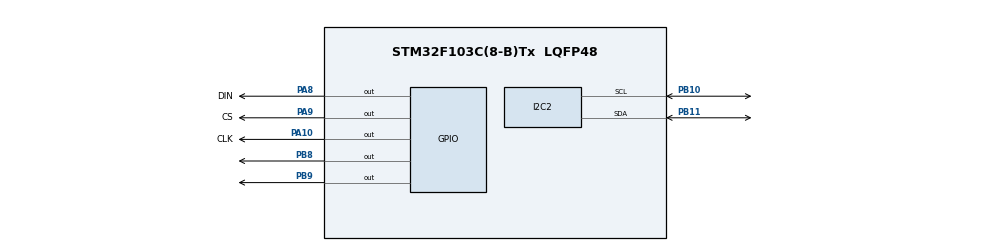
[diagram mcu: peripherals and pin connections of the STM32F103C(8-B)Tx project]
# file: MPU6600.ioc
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Mcu.Family=STM32F1
Mcu.Name=STM32F103C(8-B)Tx
Mcu.Package=LQFP48
NVIC.I2C2_EV_IRQn=true\:0\:0\:false\:false\:true\:true\:true\:true
NVIC.PriorityGroup=NVIC_PRIORITYGROUP_4
PA10.GPIO_Label=CLK
PA10.Signal=GPIO_Output
PA13.Mode=Serial_Wire
PA13.Signal=SYS_JTMS-SWDIO
PA14.Mode=Serial_Wire
PA14.Signal=SYS_JTCK-SWCLK
PA8.GPIO_Label=DIN
PA8.Signal=GPIO_Output
PA9.GPIO_Label=CS
PA9.Signal=GPIO_Output
PB10.Mode=I2C
PB10.Signal=I2C2_SCL
PB11.Mode=I2C
PB11.Signal=I2C2_SDA
PB8.GPIO_Speed=GPIO_SPEED_FREQ_HIGH
PB8.Signal=GPIO_Output
PB9.GPIO_Speed=GPIO_SPEED_FREQ_HIGH
PB9.Signal=GPIO_Output
ProjectManager.HeapSize=0x200
ProjectManager.StackSize=0x400
ProjectManager.TargetToolchain=MDK-ARM V5.32
RCC.APB1Freq_Value=8000000
RCC.APB2Freq_Value=8000000
board=custom

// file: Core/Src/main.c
/* USER CODE BEGIN Header */
/**
  ******************************************************************************
  * @file           : main.c
  * @brief          : Main program body
  ******************************************************************************
  * @attention
  *
  * Copyright (c) 2025 STMicroelectronics.
  * All rights reserved.
  *
  * This software is licensed under terms that can be found in the LICENSE file
  * in the root directory of this software component.
  * If no LICENSE file comes with this software, it is provided AS-IS.
  *
  ******************************************************************************
  */
/* USER CODE END Header */
#include "main.h"
#include "i2c.h"
#include "gpio.h"

/* USER CODE BEGIN Includes */
#include "oled.h"
#include "MPU6050.h"
#include "stdarg.h"
 #include "stdio.h"
 #include "MAX7219.h"
/* USER CODE END Includes */

/* USER CODE BEGIN PD */
float roll,pitch,yaw;

int num_line=4,num_colunm=4;
/* USER CODE END PD */

void SystemClock_Config(void);

int main(void)
{

  /* MCU Configuration--------------------------------------------------------*/

  /* Reset of all peripherals, Initializes the Flash interface and the Systick. */
  HAL_Init();

  /* Configure the system clock */
  SystemClock_Config();

  /* Initialize all configured peripherals */
  MX_GPIO_Init();
  MX_I2C2_Init();
  /* USER CODE BEGIN 2 */
   MPU6050_Init(&hi2c2);
    MPU6050_Data data;
	MPU6050_Change_Data change_data;
  OLED_Init();
  /* USER CODE END 2 */

  /* Infinite loop */
  /* USER CODE BEGIN WHILE */

    MAX7219_Init();                // 初�?��?? MAX7219

  while (1)
  {
    MPU6050_read(&hi2c2, &data); // ��ȡ����
	MPU6050_data_change(&data,&change_data);
	Calculat_Read(&change_data);

      OLED_Clear();
      OLED_ShowFloatNum(1,1,roll,2,2,OLED_6X8);
      OLED_ShowFloatNum(1,10,pitch,2,2,OLED_6X8);
      OLED_ShowFloatNum(1,20,yaw,2,2,OLED_6X8);
      OLED_Update();

      if(roll==0)
      {
         MAX7219_LightLED(num_colunm,num_line);
      }
      else if(roll<0)
      {
          num_colunm++;
          if(num_colunm>=8)
          {
            num_colunm=8;

          }
         MAX7219_LightLED(num_colunm,num_line);

      }
      else
      {
        num_colunm--;
          if(num_colunm<1)
         {
                num_colunm=1;
         }
         MAX7219_LightLED(num_colunm,num_line);

      }

      if(pitch==0)
      {
         MAX7219_LightLED(num_colunm,num_line);
      }
      else if(pitch<0)
      {
          num_line++;
          if(num_line>=8)
          {
            num_line=8;

          }
         MAX7219_LightLED(num_colunm,num_line);

      }
      else
      {
        num_line--;
          if(num_line<1)
         {
                num_line=1;
         }
         MAX7219_LightLED(num_colunm,num_line);

      }

      }
      /* USER CODE END WHILE */

  }

void SystemClock_Config(void)
{
  RCC_OscInitTypeDef RCC_OscInitStruct = {0};
  RCC_ClkInitTypeDef RCC_ClkInitStruct = {0};

  /** Initializes the RCC Oscillators according to the specified parameters
  * in the RCC_OscInitTypeDef structure.
  */
  RCC_OscInitStruct.OscillatorType = RCC_OSCILLATORTYPE_HSI;
  RCC_OscInitStruct.HSIState = RCC_HSI_ON;
  RCC_OscInitStruct.HSICalibrationValue = RCC_HSICALIBRATION_DEFAULT;
  RCC_OscInitStruct.PLL.PLLState = RCC_PLL_NONE;
  if (HAL_RCC_OscConfig(&RCC_OscInitStruct) != HAL_OK)
  {
    Error_Handler();
  }

  /** Initializes the CPU, AHB and APB buses clocks
  */
  RCC_ClkInitStruct.ClockType = RCC_CLOCKTYPE_HCLK|RCC_CLOCKTYPE_SYSCLK
                              |RCC_CLOCKTYPE_PCLK1|RCC_CLOCKTYPE_PCLK2;
  RCC_ClkInitStruct.SYSCLKSource = RCC_SYSCLKSOURCE_HSI;
  RCC_ClkInitStruct.AHBCLKDivider = RCC_SYSCLK_DIV1;
  RCC_ClkInitStruct.APB1CLKDivider = RCC_HCLK_DIV1;
  RCC_ClkInitStruct.APB2CLKDivider = RCC_HCLK_DIV1;

  if (HAL_RCC_ClockConfig(&RCC_ClkInitStruct, FLASH_LATENCY_0) != HAL_OK)
  {
    Error_Handler();
  }
}

void Error_Handler(void)
{
  __disable_irq();
  while (1)
  {
  }
}
